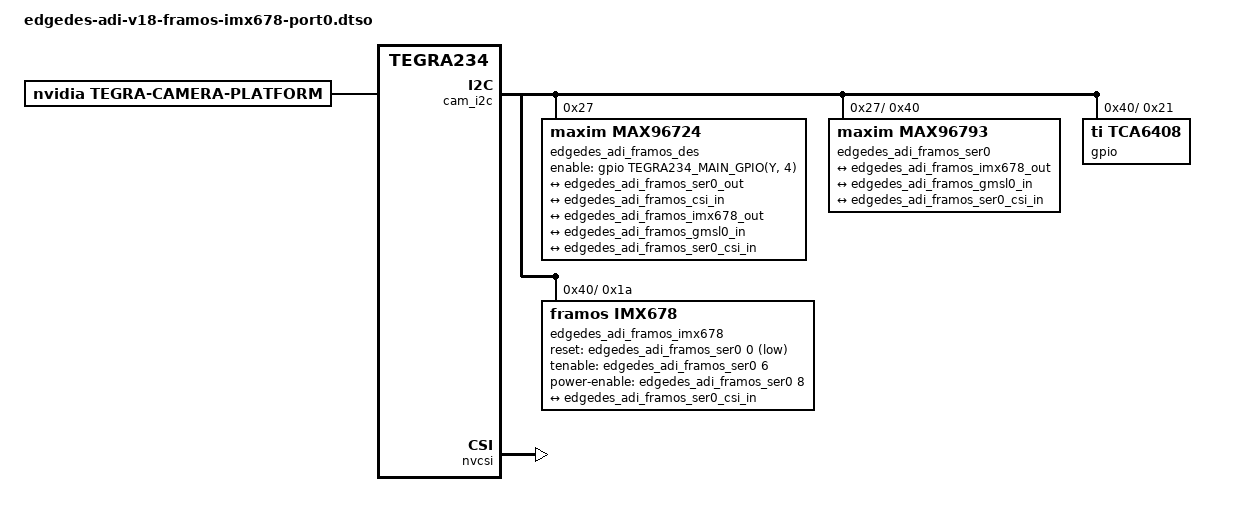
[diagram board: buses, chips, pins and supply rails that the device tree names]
// SPDX-License-Identifier: GPL-2.0-only
// SPDX-FileCopyrightText: Copyright (c) 2026 CompuLab Ltd.

/dts-v1/;
/plugin/;

#include <dt-bindings/gpio/gpio.h>
#include <dt-bindings/gpio/tegra234-gpio.h>
#include <dt-bindings/media/video-interfaces.h>

/*
 * Initial ADI v18 transport profile for F-CON_08 v2.0rA + ISB_IMX678_SG1.
 * Use instead of the TEVS profile; only EDGEDES coax port 0 is enabled.
 *
 * Preserve the qualified R39 eb-edgedes-framos-imx678-overlay.dts sensor
 * mode and lane ordering: MAX96724 PHY2 -> Edge-AI CSI-C (port-index 2),
 * identity four-lane map, VC0, 2.5 Gb/s per output lane. RAW12 capture is
 * qualified with ADI v18 in pixel mode; it does not use the old TN pipe
 * properties (DBL12/soft-bpp/alt-mem-map12). Cold-power startup is not qualified.
 *
 * FRAMOS support's corrected F-CON_08 pinout identifies MFP0=XCLR,
 * MFP4=INCK, MFP6=TENABLE, MFP8=PW_EN_0, MFP9=SDA and MFP10=SCL.
 * Serializer i2c@0 below is ADI's logical downstream ATR adapter, not a
 * claim about the physical MFP I2C channel numbering. The qualified vendor
 * profile also leaves the serializer control-I2C pin routing at defaults.
 */

/ {
	overlay-name = "CompuLab EDGEDES ADI v18 FRAMOS IMX678 port 0";
	compatible = "compulab,edgeai-orn", "nvidia,tegra234";

	fragment@0 {
		target = <&cam_i2c>;
		__overlay__ {
			status = "okay";
			#address-cells = <1>;
			#size-cells = <0>;

			edgedes_adi_framos_des: deserializer@27 {
				compatible = "maxim,max96724";
				reg = <0x27>;
				/* Edge-AI EDGEDES PWDN/reset: physical low asserts reset. */
				enable-gpios = <&gpio TEGRA234_MAIN_GPIO(Y, 4) GPIO_ACTIVE_HIGH>;
				maxim,control-channel-port = <0>;
				/* Link-local DT address 0x40 is exposed upstream at alias 0x42. */
				i2c-alias-pool = <0x42>;

				ports {
					#address-cells = <1>;
					#size-cells = <0>;
					port@0 {
						reg = <0>;
						edgedes_adi_framos_gmsl0_in: endpoint {
							remote-endpoint = <&edgedes_adi_framos_ser0_out>;
						};
					};
					/* ADI source pad 6 = four GMSL inputs + hardware PHY2. */
					port@6 {
						reg = <6>;
						edgedes_adi_framos_phy2_out: endpoint {
							bus-type = <MEDIA_BUS_TYPE_CSI2_DPHY>;
							clock-lanes = <0>;
							data-lanes = <1 2 3 4>;
							lane-polarities = <0 0 0 0 0>;
							link-frequencies = /bits/ 64 <1250000000>;
							remote-endpoint = <&edgedes_adi_framos_csi_in>;
						};
					};
				};

				i2c-atr {
					#address-cells = <1>;
					#size-cells = <0>;
					i2c@0 {
						reg = <0>;
						#address-cells = <1>;
						#size-cells = <0>;

						edgedes_adi_framos_ser0: serializer@40 {
							compatible = "maxim,max96793", "maxim,max96717f";
							reg = <0x40>;
							gpio-controller;
							#gpio-cells = <2>;
							#clock-cells = <0>;
							/* Pool for native TCA6408 0x21 and IMX678 0x1a; ATR assigns dynamically. */
							i2c-alias-pool = <0x22 0x1b>;
							pinctrl-names = "default";
							pinctrl-0 = <&edgedes_adi_framos_rclk>;

							edgedes_adi_framos_rclk: rclk-pins {
								pins = "mfp4";
								function = "rclkout";
								/* Qualified 37.125-MHz clock uses the fastest slew. */
								slew-rate = <0>;
							};

							ports {
								#address-cells = <1>;
								#size-cells = <0>;
								port@0 {
									reg = <0>;
									edgedes_adi_framos_ser0_csi_in: endpoint {
										bus-type = <MEDIA_BUS_TYPE_CSI2_DPHY>;
										clock-lanes = <0>;
										data-lanes = <1 2 3 4>;
										lane-polarities = <0 0 0 0 0>;
										remote-endpoint = <&edgedes_adi_framos_imx678_out>;
									};
								};
								port@1 {
									reg = <1>;
									edgedes_adi_framos_ser0_out: endpoint {
										remote-endpoint = <&edgedes_adi_framos_gmsl0_in>;
									};
								};
							};

							i2c-atr {
								#address-cells = <1>;
								#size-cells = <0>;
								i2c@0 {
									reg = <0>;
									#address-cells = <1>;
									#size-cells = <0>;

									/* Expose the expander for diagnostics; do not change strap states. */
									gpio@21 {
										compatible = "ti,tca6408";
										reg = <0x21>;
										gpio-controller;
										#gpio-cells = <2>;
										gpio-line-names =
											"SLAMODE1", "SLAMODE2", "PW_EN_1", "TOUT0",
											"XMASTER0", "TOUT2", "SYS_PW_EN", "TOUT1";
									};

									edgedes_adi_framos_imx678: imx678@1a {
										compatible = "framos,imx678";
										reg = <0x1a>;
										status = "okay";
										/* Driver: PW_EN low 5 ms, INCK on, XCLR low 200 ms. */
										reset-gpios = <&edgedes_adi_framos_ser0 0 GPIO_ACTIVE_LOW>;
										tenable-gpios = <&edgedes_adi_framos_ser0 6 GPIO_ACTIVE_HIGH>;
										power-enable-gpios = <&edgedes_adi_framos_ser0 8 GPIO_ACTIVE_HIGH>;
										clocks = <&edgedes_adi_framos_ser0>;
										clock-names = "mclk";
										mclk = "mclk";
										assigned-clocks = <&edgedes_adi_framos_ser0>;
										assigned-clock-rates = <37125000>;
										vc-id = <0>;
										devnode = "video0";
										physical_w = "20.00";
										physical_h = "16.80";
										sensor_model = "imx678";
										post_crop_frame_drop = "0";
										use_decibel_gain = "true";
										delayed_gain = "false";
										use_sensor_mode_id = "false";

										/* Preserve only the previously qualified native 10-FPS mode. */
										mode0 {
											mclk_khz = "37125";
											num_lanes = "4";
											tegra_sinterface = "serial_c";
											vc_id = "0";
											phy_mode = "DPHY";
											discontinuous_clk = "no";
											dpcm_enable = "false";
											cil_settletime = "0";
											lane_polarity = "0";
											active_w = "3856";
											active_h = "2180";
											dynamic_pixel_bit_depth = "12";
											csi_pixel_bit_depth = "12";
											mode_type = "bayer";
											pixel_phase = "rggb";
											readout_orientation = "0";
											line_length = "6600";
											inherent_gain = "1";
											pix_clk_hz = "396000000";
											serdes_pix_clk_hz = "833333333";
											gain_factor = "10";
											min_gain_val = "0";
											max_gain_val = "720";
											step_gain_val = "3";
											default_gain = "0";
											min_hdr_ratio = "1";
											max_hdr_ratio = "1";
											framerate_factor = "1000000";
											min_framerate = "10000000";
											max_framerate = "10000000";
											step_framerate = "1";
											default_framerate = "10000000";
											exposure_factor = "1000000";
											min_exp_time = "30";
											max_exp_time = "99875";
											step_exp_time = "1";
											default_exp_time = "10000";
											embedded_metadata_height = "0";
										};

										ports {
											#address-cells = <1>;
											#size-cells = <0>;
											port@0 {
												reg = <0>;
												edgedes_adi_framos_imx678_out: endpoint {
													/* NVIDIA leaf metadata: downstream CSI-C, four lanes. */
													port-index = <2>;
													bus-width = <4>;
													bus-type = <MEDIA_BUS_TYPE_CSI2_DPHY>;
													clock-lanes = <0>;
													data-lanes = <1 2 3 4>;
													lane-polarities = <0 0 0 0 0>;
													/* Sensor CSI 1188 Mb/s/lane; link-frequencies is half the bit rate. */
													link-frequencies = /bits/ 64 <594000000>;
													vc-id = <0>;
													remote-endpoint = <&edgedes_adi_framos_ser0_csi_in>;
												};
											};
										};
									};
								};
							};
						};
					};
				};
			};
		};
	};

	fragment@1 {
		target = <&nvcsi>;
		__overlay__ {
			status = "okay";
			num-channels = <1>;
			#address-cells = <1>;
			#size-cells = <0>;
			channel@0 {
				reg = <0>;
				ports {
					#address-cells = <1>;
					#size-cells = <0>;
					port@0 {
						reg = <0>;
						#address-cells = <1>;
						#size-cells = <0>;
						edgedes_adi_framos_csi_in: endpoint@0 {
							reg = <0>;
							port-index = <2>;
							bus-width = <4>;
							vc-id = <0>;
							bus-type = <MEDIA_BUS_TYPE_CSI2_DPHY>;
							data-lanes = <1 2 3 4>;
							remote-endpoint = <&edgedes_adi_framos_phy2_out>;
						};
					};
					port@1 {
						reg = <1>;
						#address-cells = <1>;
						#size-cells = <0>;
						edgedes_adi_framos_csi_out: endpoint@1 {
							reg = <1>;
							remote-endpoint = <&edgedes_adi_framos_vi_in>;
						};
					};
				};
			};
		};
	};

	fragment@2 {
		target = <&capture_vi>;
		__overlay__ {
			num-channels = <1>;
			ports {
				#address-cells = <1>;
				#size-cells = <0>;
				port@0 {
					reg = <0>;
					edgedes_adi_framos_vi_in: endpoint {
						port-index = <2>;
						bus-width = <4>;
						vc-id = <0>;
						remote-endpoint = <&edgedes_adi_framos_csi_out>;
					};
				};
			};
		};
	};

	fragment@3 {
		target-path = "/";
		__overlay__ {
			tegra-camera-platform {
				compatible = "nvidia, tegra-camera-platform";
				num_csi_lanes = <4>;
				max_lane_speed = <2500000>;
				min_bits_per_pixel = <12>;
				vi_peak_byte_per_pixel = <2>;
				vi_bw_margin_pct = <25>;
				isp_peak_byte_per_pixel = <5>;
				isp_bw_margin_pct = <25>;
				modules {
					module0 {
						badge = "imx678_port0_framos";
						position = "front";
						orientation = "1";
						drivernode0 {
							pcl_id = "v4l2_sensor";
							sysfs-device-tree = "/sys/firmware/devicetree/base/bus@0/i2c@3180000/deserializer@27/i2c-atr/i2c@0/serializer@40/i2c-atr/i2c@0/imx678@1a";
						};
					};
				};
			};
		};
	};
};
